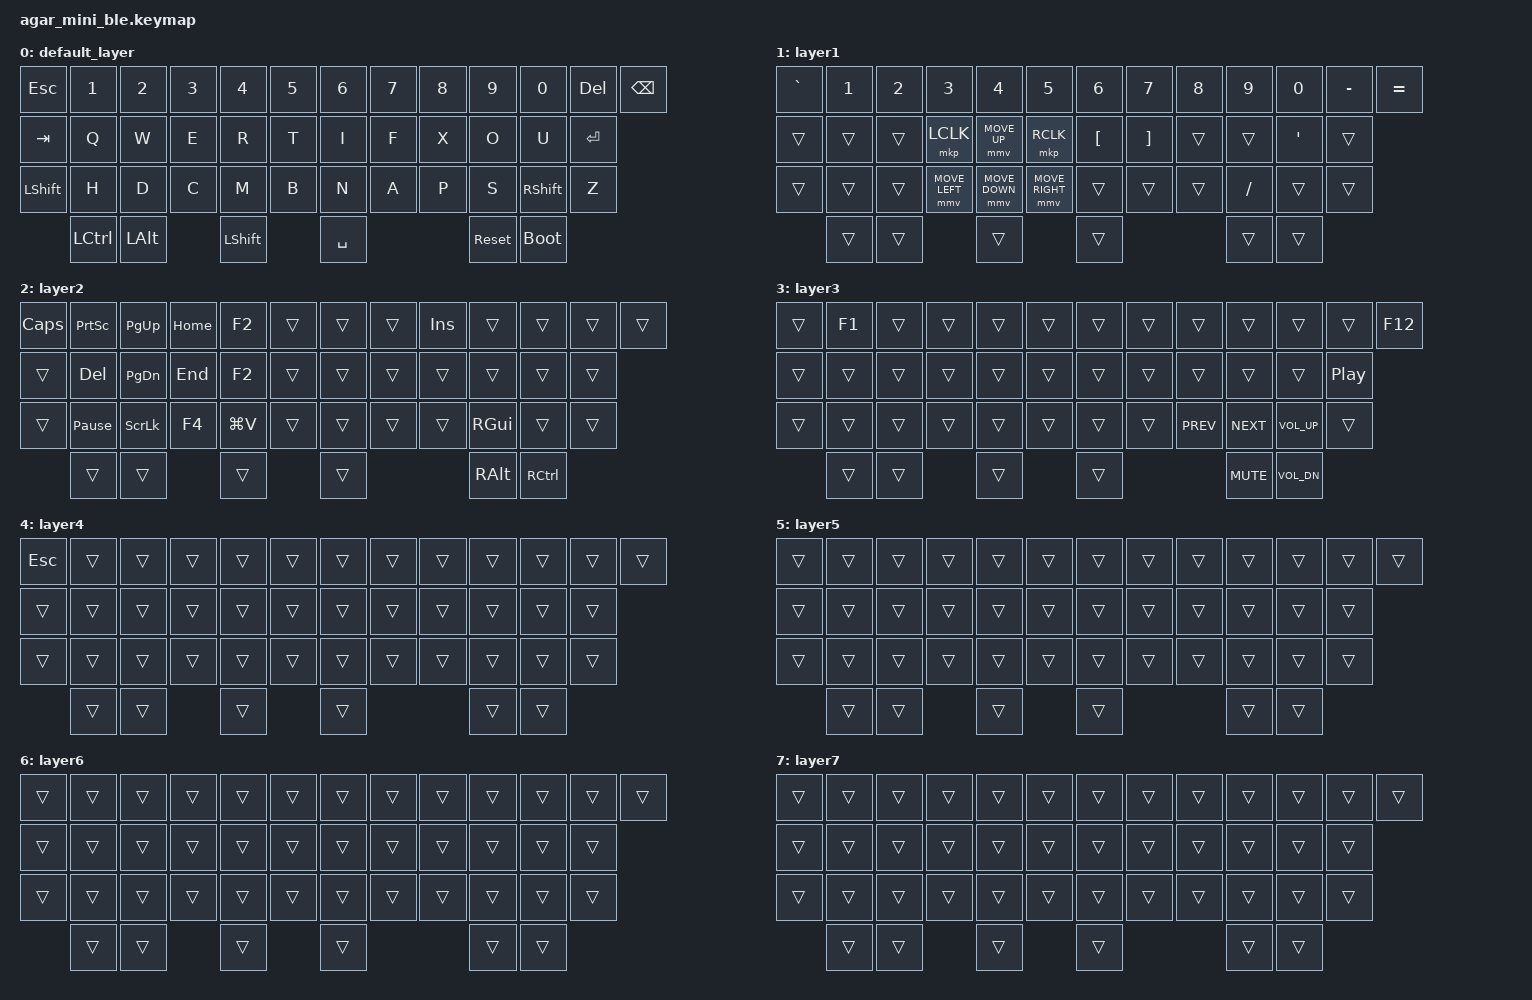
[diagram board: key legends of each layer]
/*
 * Copyright (c) 2021 The ZMK Contributors
 *
 * SPDX-License-Identifier: MIT
 */

#include "./boards/shields/klink_kbd/common.keymap"
#include <behaviors.dtsi>
#include <dt-bindings/zmk/keys.h>
#include <dt-bindings/zmk/pointing.h>

/ {
    macros {
        M1: new_macro {
            compatible = "zmk,behavior-macro";
            #binding-cells = <0>;
            bindings = <&kp NUMBER_1 &kp NUMBER_0 &kp NUMBER_0 &kp NUMBER_4 &kp NUMBER_0 &kp NUMBER_2>;
            label = "NEW_MACRO";
        };
    };

    keymap {
        compatible = "zmk,keymap";

        default_layer {
            bindings = <
&kp ESC    &kp NUMBER_1  &kp NUMBER_2  &kp NUMBER_3  &kp NUMBER_4  &kp NUMBER_5  &kp NUMBER_6  &kp NUMBER_7  &kp NUMBER_8  &kp NUMBER_9  &kp NUMBER_0  &kp DELETE  &kp BSPC
&kp TAB    &kp Q         &kp W         &kp E         &kp R         &kp T         &kp I         &kp F         &kp X         &kp O         &kp U         &kp RET
&kp LSHFT  &kp H         &kp D         &kp C         &kp M         &kp B         &kp N         &kp A         &kp P         &kp S         &kp RSHIFT    &kp Z
           &kp LCTRL     &kp LALT                    &kp LSHIFT                  &kp SPACE                                 &sys_reset    &bootloader
            >;
        };

        layer1 {
            bindings = <
&kp GRAVE  &kp N1  &kp N2  &kp N3          &kp N4          &kp N5           &kp N6            &kp N7             &kp N8  &kp N9     &kp N0            &kp MINUS  &kp EQUAL
&trans     &trans  &trans  &mkp LCLK       &mmv MOVE_UP    &mkp RCLK        &kp LEFT_BRACKET  &kp RIGHT_BRACKET  &trans  &trans     &kp SINGLE_QUOTE  &trans
&trans     &trans  &trans  &mmv MOVE_LEFT  &mmv MOVE_DOWN  &mmv MOVE_RIGHT  &trans            &trans             &trans  &kp SLASH  &trans            &trans
           &trans  &trans                  &trans                           &trans                                       &trans     &trans
            >;
        };

        layer2 {
            bindings = <
&kp CAPSLOCK  &kp PRINTSCREEN  &kp PAGE_UP     &kp HOME  &kp F2     &trans  &trans  &trans  &kp INSERT  &trans    &trans     &trans  &trans
&trans        &kp DELETE       &kp PAGE_DOWN   &kp END   &kp F2     &trans  &trans  &trans  &trans      &trans    &trans     &trans
&trans        &kp PAUSE_BREAK  &kp SCROLLLOCK  &kp F4    &kp LG(V)  &trans  &trans  &trans  &trans      &kp RGUI  &trans     &trans
              &trans           &trans                    &trans             &trans                      &kp RALT  &kp RCTRL
            >;
        };

        layer3 {
            bindings = <
&trans  &kp F1  &trans  &trans  &trans  &trans  &trans  &trans  &trans      &trans      &trans        &trans            &kp F12
&trans  &trans  &trans  &trans  &trans  &trans  &trans  &trans  &trans      &trans      &trans        &kp C_PLAY_PAUSE
&trans  &trans  &trans  &trans  &trans  &trans  &trans  &trans  &kp C_PREV  &kp C_NEXT  &kp C_VOL_UP  &trans
        &trans  &trans          &trans          &trans                      &kp C_MUTE  &kp C_VOL_DN
            >;
        };

        layer4 {
            bindings = <
&kp ESC  &trans  &trans  &trans  &trans  &trans  &trans  &trans  &trans  &trans  &trans  &trans  &trans
&trans   &trans  &trans  &trans  &trans  &trans  &trans  &trans  &trans  &trans  &trans  &trans
&trans   &trans  &trans  &trans  &trans  &trans  &trans  &trans  &trans  &trans  &trans  &trans
         &trans  &trans          &trans          &trans                  &trans  &trans
            >;
        };

        layer5 {
            bindings = <
&trans  &trans  &trans  &trans  &trans  &trans  &trans  &trans  &trans  &trans  &trans  &trans  &trans
&trans  &trans  &trans  &trans  &trans  &trans  &trans  &trans  &trans  &trans  &trans  &trans
&trans  &trans  &trans  &trans  &trans  &trans  &trans  &trans  &trans  &trans  &trans  &trans
        &trans  &trans          &trans          &trans                  &trans  &trans
            >;
        };

        layer6 {
            bindings = <
&trans  &trans  &trans  &trans  &trans  &trans  &trans  &trans  &trans  &trans  &trans  &trans  &trans
&trans  &trans  &trans  &trans  &trans  &trans  &trans  &trans  &trans  &trans  &trans  &trans
&trans  &trans  &trans  &trans  &trans  &trans  &trans  &trans  &trans  &trans  &trans  &trans
        &trans  &trans          &trans          &trans                  &trans  &trans
            >;
        };

        layer7 {
            bindings = <
&trans  &trans  &trans  &trans  &trans  &trans  &trans  &trans  &trans  &trans  &trans  &trans  &trans
&trans  &trans  &trans  &trans  &trans  &trans  &trans  &trans  &trans  &trans  &trans  &trans
&trans  &trans  &trans  &trans  &trans  &trans  &trans  &trans  &trans  &trans  &trans  &trans
        &trans  &trans          &trans          &trans                  &trans  &trans
            >;
        };
    };
};
